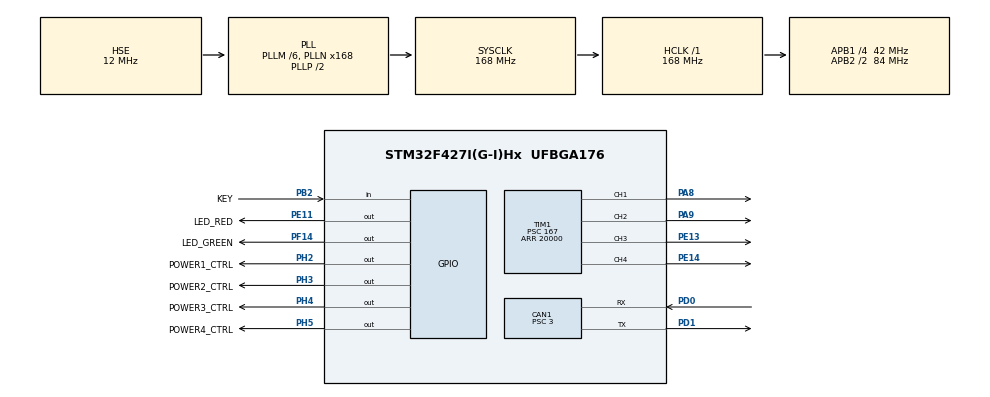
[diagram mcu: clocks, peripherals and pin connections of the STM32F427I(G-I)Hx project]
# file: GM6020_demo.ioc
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CAN1.ABOM=ENABLE
CAN1.BS1=CAN_BS1_9TQ
CAN1.BS2=CAN_BS2_4TQ
CAN1.CalculateBaudRate=1000000
CAN1.CalculateTimeQuantum=71.42857142857143
CAN1.NART=DISABLE
CAN1.Prescaler=3
CAN1.SJW=CAN_SJW_1TQ
Mcu.Family=STM32F4
Mcu.Name=STM32F427I(G-I)Hx
Mcu.Package=UFBGA176
NVIC.CAN1_RX0_IRQn=true\:0\:0\:false\:false\:true\:true\:true\:true
NVIC.CAN1_TX_IRQn=true\:0\:0\:false\:false\:true\:true\:true\:true
NVIC.PriorityGroup=NVIC_PRIORITYGROUP_4
PA8.Signal=S_TIM1_CH1
PA9.Signal=S_TIM1_CH2
PB2/BOOT1.GPIO_Label=KEY
PB2/BOOT1.Signal=GPIO_Input
PD0.Mode=CAN_Activate
PD0.Signal=CAN1_RX
PD1.Mode=CAN_Activate
PD1.Signal=CAN1_TX
PE11.GPIO_Label=LED_RED
PE11.Signal=GPIO_Output
PE13.Signal=S_TIM1_CH3
PE14.Signal=S_TIM1_CH4
PF14.GPIO_Label=LED_GREEN
PF14.Signal=GPIO_Output
PH0/OSC_IN.Mode=HSE-External-Oscillator
PH0/OSC_IN.Signal=RCC_OSC_IN
PH1/OSC_OUT.Mode=HSE-External-Oscillator
PH1/OSC_OUT.Signal=RCC_OSC_OUT
PH2.GPIO_Label=POWER1_CTRL
PH2.Signal=GPIO_Output
PH3.GPIO_Label=POWER2_CTRL
PH3.Signal=GPIO_Output
PH4.GPIO_Label=POWER3_CTRL
PH4.Signal=GPIO_Output
PH5.GPIO_Label=POWER4_CTRL
PH5.Signal=GPIO_Output
ProjectManager.HeapSize=0x200
ProjectManager.StackSize=0x400
ProjectManager.TargetToolchain=MDK-ARM V5
RCC.48MHZClocksFreq_Value=84000000
RCC.AHBFreq_Value=168000000
RCC.APB1CLKDivider=RCC_HCLK_DIV4
RCC.APB1Freq_Value=42000000
RCC.APB1TimFreq_Value=84000000
RCC.APB2CLKDivider=RCC_HCLK_DIV2
RCC.APB2Freq_Value=84000000
RCC.APB2TimFreq_Value=168000000
RCC.CortexFreq_Value=168000000
RCC.HCLKFreq_Value=168000000
RCC.HSE_VALUE=12000000
RCC.HSI_VALUE=16000000
RCC.LSE_VALUE=32768
RCC.PLLM=6
RCC.PLLN=168
RCC.PLLSourceVirtual=RCC_PLLSOURCE_HSE
RCC.SYSCLKFreq_VALUE=168000000
RCC.SYSCLKSource=RCC_SYSCLKSOURCE_PLLCLK
RCC.VCOOutputFreq_Value=336000000
SH.S_TIM1_CH1.0=TIM1_CH1,PWM Generation1 CH1
SH.S_TIM1_CH2.0=TIM1_CH2,PWM Generation2 CH2
SH.S_TIM1_CH3.0=TIM1_CH3,PWM Generation3 CH3
SH.S_TIM1_CH4.0=TIM1_CH4,PWM Generation4 CH4
TIM1.Channel-PWM\ Generation1\ CH1=TIM_CHANNEL_1
TIM1.Channel-PWM\ Generation2\ CH2=TIM_CHANNEL_2
TIM1.Channel-PWM\ Generation3\ CH3=TIM_CHANNEL_3
TIM1.Channel-PWM\ Generation4\ CH4=TIM_CHANNEL_4
TIM1.Period=20000
TIM1.Prescaler=167
TIM1.Pulse-PWM\ Generation1\ CH1=1000
TIM1.Pulse-PWM\ Generation2\ CH2=1000
TIM1.Pulse-PWM\ Generation3\ CH3=1000
TIM1.Pulse-PWM\ Generation4\ CH4=1000
board=PWM

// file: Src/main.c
/* USER CODE BEGIN Header */
/**
  ******************************************************************************
  * @file           : main.c
  * @brief          : Main program body
  ******************************************************************************
  ** This notice applies to any and all portions of this file
  * that are not between comment pairs USER CODE BEGIN and
  * USER CODE END. Other portions of this file, whether
  * inserted by the user or by software development tools
  * are owned by their respective copyright owners.
  *
  * COPYRIGHT(c) 2018 STMicroelectronics
  *
  * Redistribution and use in source and binary forms, with or without modification,
  * are permitted provided that the following conditions are met:
  *   1. Redistributions of source code must retain the above copyright notice,
  *      this list of conditions and the following disclaimer.
  *   2. Redistributions in binary form must reproduce the above copyright notice,
  *      this list of conditions and the following disclaimer in the documentation
  *      and/or other materials provided with the distribution.
  *   3. Neither the name of STMicroelectronics nor the names of its contributors
  *      may be used to endorse or promote products derived from this software
  *      without specific prior written permission.
  *
  * THIS SOFTWARE IS PROVIDED BY THE COPYRIGHT HOLDERS AND CONTRIBUTORS "AS IS"
  * AND ANY EXPRESS OR IMPLIED WARRANTIES, INCLUDING, BUT NOT LIMITED TO, THE
  * IMPLIED WARRANTIES OF MERCHANTABILITY AND FITNESS FOR A PARTICULAR PURPOSE ARE
  * DISCLAIMED. IN NO EVENT SHALL THE COPYRIGHT HOLDER OR CONTRIBUTORS BE LIABLE
  * FOR ANY DIRECT, INDIRECT, INCIDENTAL, SPECIAL, EXEMPLARY, OR CONSEQUENTIAL
  * DAMAGES (INCLUDING, BUT NOT LIMITED TO, PROCUREMENT OF SUBSTITUTE GOODS OR
  * SERVICES; LOSS OF USE, DATA, OR PROFITS; OR BUSINESS INTERRUPTION) HOWEVER
  * CAUSED AND ON ANY THEORY OF LIABILITY, WHETHER IN CONTRACT, STRICT LIABILITY,
  * OR TORT (INCLUDING NEGLIGENCE OR OTHERWISE) ARISING IN ANY WAY OUT OF THE USE
  * OF THIS SOFTWARE, EVEN IF ADVISED OF THE POSSIBILITY OF SUCH DAMAGE.
  *
  ******************************************************************************
  */
/* USER CODE END Header */

#include "main.h"
#include "can.h"
#include "tim.h"
#include "gpio.h"

/* USER CODE BEGIN Includes */
#include "bsp_key.h"
#include "bsp_led.h"
#include "bsp_can.h"
#include "bsp_pwm.h"
#include "pid.h"
/* USER CODE END Includes */

/* USER CODE BEGIN PV */
extern moto_info_t motor_info[MOTOR_MAX_NUM];
int16_t led_cnt;
pid_struct_t motor_pid[7];
float target_speed;
uint16_t pwm_pulse1 = 1080;  // default pwm pulse width:1080~1920
uint16_t pwm_pulse2 = 1920;
/* USER CODE END PV */

void SystemClock_Config(void);

int main(void)
{

  /* MCU Configuration--------------------------------------------------------*/

  /* Reset of all peripherals, Initializes the Flash interface and the Systick. */
  HAL_Init();

  /* Configure the system clock */
  SystemClock_Config();

  /* Initialize all configured peripherals */
  MX_GPIO_Init();
  MX_CAN1_Init();
  MX_TIM1_Init();
  /* USER CODE BEGIN 2 */
  HAL_GPIO_WritePin(GPIOH, POWER1_CTRL_Pin|POWER2_CTRL_Pin|POWER3_CTRL_Pin|POWER4_CTRL_Pin, GPIO_PIN_SET); // switch on 24v power
  pwm_init();                              // start pwm output
  can_user_init(&hcan1);                   // config can filter, start can
  for (uint8_t i = 0; i < 7; i++)
  {
    pid_init(&motor_pid[i], 40, 3, 0, 30000, 30000); //init pid parameter, kp=40, ki=3, kd=0, output limit = 30000
  }
  /* USER CODE END 2 */

  /* Infinite loop */
  /* USER CODE BEGIN WHILE */
  while (1)
  {
    /* led blink */
    led_cnt ++;
    if (led_cnt == 250)
    {
      led_cnt = 0;
      LED_RED_TOGGLE(); //blink cycle 500ms
    }

    /* scan is key be pressd down to change target speed and pwm pulse */
    if (key_scan())
    { target_speed += 5.0f;  // target speed increase 60rpm
      pwm_pulse1    += 24;    // pulse  width increase 210us = (1920-1080)/4
			pwm_pulse2    -= 24;
      if (target_speed > 180) // if current speed = 180, press key to stop motor
      {
        target_speed = 0;
        pwm_pulse1 = 1080;
				pwm_pulse2 = 1920;
      }
    }

    /* motor speed pid calc */
    for (uint8_t i = 0; i < 7; i++)
    {
      motor_info[i].set_voltage = pid_calc(&motor_pid[i], target_speed, motor_info[i].rotor_speed);
    }
    /* send motor control message through can bus*/
    set_motor_voltage(0,
                      motor_info[0].set_voltage,
                      motor_info[1].set_voltage,
                      motor_info[2].set_voltage,
                      motor_info[3].set_voltage);

    set_motor_voltage(1,
                      motor_info[4].set_voltage,
                      motor_info[5].set_voltage,
                      motor_info[6].set_voltage,
                      0);

    /* set pwm pulse width */
    __HAL_TIM_SetCompare(&htim1, TIM_CHANNEL_1, pwm_pulse1);

    __HAL_TIM_SetCompare(&htim1, TIM_CHANNEL_2, pwm_pulse1);
		HAL_Delay(1000);
		__HAL_TIM_SetCompare(&htim1, TIM_CHANNEL_3, pwm_pulse2);

    __HAL_TIM_SetCompare(&htim1, TIM_CHANNEL_4, pwm_pulse2);

    /* system delay 1ms */
    HAL_Delay(0);
    /* USER CODE END WHILE */

  }
}

void SystemClock_Config(void)
{
  RCC_OscInitTypeDef RCC_OscInitStruct = {0};
  RCC_ClkInitTypeDef RCC_ClkInitStruct = {0};

  /**Configure the main internal regulator output voltage
  */
  __HAL_RCC_PWR_CLK_ENABLE();
  __HAL_PWR_VOLTAGESCALING_CONFIG(PWR_REGULATOR_VOLTAGE_SCALE1);
  /**Initializes the CPU, AHB and APB busses clocks
  */
  RCC_OscInitStruct.OscillatorType = RCC_OSCILLATORTYPE_HSE;
  RCC_OscInitStruct.HSEState = RCC_HSE_ON;
  RCC_OscInitStruct.PLL.PLLState = RCC_PLL_ON;
  RCC_OscInitStruct.PLL.PLLSource = RCC_PLLSOURCE_HSE;
  RCC_OscInitStruct.PLL.PLLM = 6;
  RCC_OscInitStruct.PLL.PLLN = 168;
  RCC_OscInitStruct.PLL.PLLP = RCC_PLLP_DIV2;
  RCC_OscInitStruct.PLL.PLLQ = 4;
  if (HAL_RCC_OscConfig(&RCC_OscInitStruct) != HAL_OK)
  {
    Error_Handler();
  }
  /**Initializes the CPU, AHB and APB busses clocks
  */
  RCC_ClkInitStruct.ClockType = RCC_CLOCKTYPE_HCLK|RCC_CLOCKTYPE_SYSCLK
                              |RCC_CLOCKTYPE_PCLK1|RCC_CLOCKTYPE_PCLK2;
  RCC_ClkInitStruct.SYSCLKSource = RCC_SYSCLKSOURCE_PLLCLK;
  RCC_ClkInitStruct.AHBCLKDivider = RCC_SYSCLK_DIV1;
  RCC_ClkInitStruct.APB1CLKDivider = RCC_HCLK_DIV4;
  RCC_ClkInitStruct.APB2CLKDivider = RCC_HCLK_DIV2;

  if (HAL_RCC_ClockConfig(&RCC_ClkInitStruct, FLASH_LATENCY_5) != HAL_OK)
  {
    Error_Handler();
  }
}

void Error_Handler(void)
{
}

/************************ (C) COPYRIGHT STMicroelectronics *****END OF FILE****/
